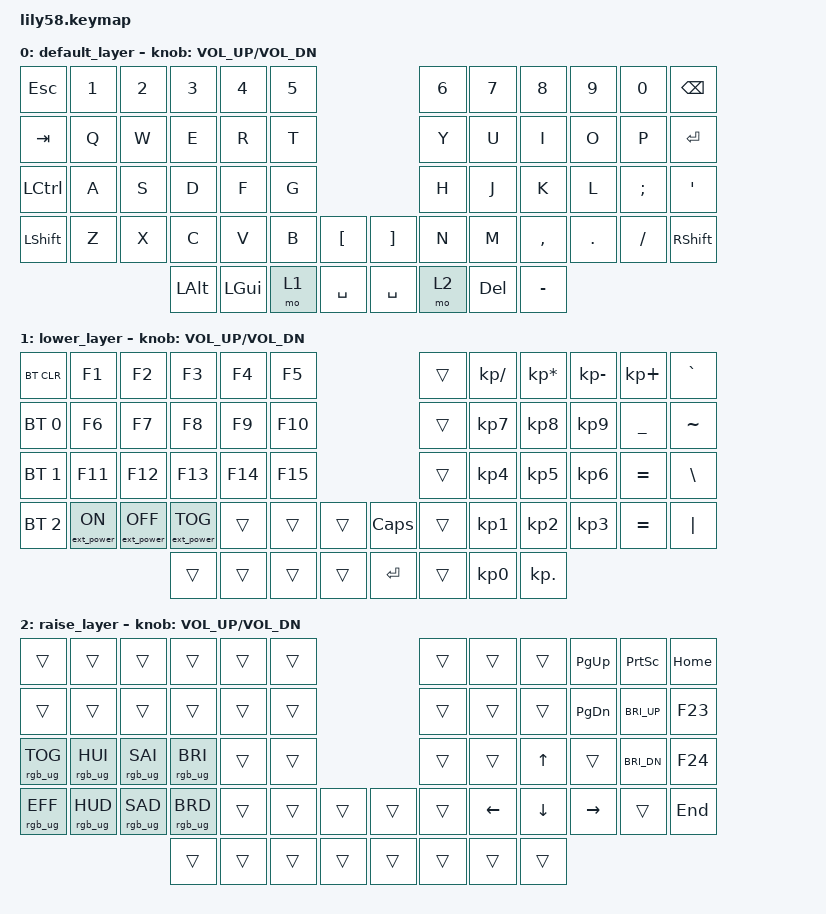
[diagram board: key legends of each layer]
/*
 * Copyright (c) 2020 The ZMK Contributors
 *
 * SPDX-License-Identifier: MIT
 */

#include <behaviors.dtsi>
#include <dt-bindings/zmk/keys.h>
#include <dt-bindings/zmk/bt.h>
#include <dt-bindings/zmk/ext_power.h>
#include <dt-bindings/zmk/rgb.h>

/ {
	keymap {
		compatible = "zmk,keymap";

		default_layer {
// ------------------------------------------------------------------------------------------------------------
// |  ESC  |  1  |  2  |  3   |  4   |  5   |                   |  6   |  7    |  8    |  9   |   0   |   `   |
// |  TAB  |  Q  |  W  |  E   |  R   |  T   |                   |  Y   |  U    |  I    |  O   |   P   |   -   |
// |  CTRL |  A  |  S  |  D   |  F   |  G   |                   |  H   |  J    |  K    |  L   |   ;   |   '   |
// | SHIFT |  Z  |  X  |  C   |  V   |  B   |   "["  |  |  "]"  |  N   |  M    |  ,    |  .   |   /   | SHIFT |
//                     | ALT  | GUI  | LOWER|  SPACE |  | ENTER | RAISE| BSPC  | GUI   |
			bindings = <
&kp ESC   &kp N1 &kp N2 &kp N3   &kp N4   &kp N5                     &kp N6 &kp N7   &kp N8    &kp N9  &kp N0   &kp BACKSPACE
&kp TAB   &kp Q  &kp W  &kp E    &kp R    &kp T                      &kp Y  &kp U    &kp I     &kp O   &kp P    &kp RETURN
&kp LCTRL &kp A  &kp S  &kp D    &kp F    &kp G                      &kp H  &kp J    &kp K     &kp L   &kp SEMI &kp SQT
&kp LSHFT &kp Z  &kp X  &kp C    &kp V    &kp B  &kp LBKT   &kp RBKT &kp N  &kp M    &kp COMMA &kp DOT &kp FSLH &kp RSHFT
                        &kp LALT &kp LGUI &mo 1  &kp SPACE  &kp SPACE  &mo 2  &kp DEL &kp MINUS
			>;

			sensor-bindings = <&inc_dec_kp C_VOL_UP C_VOL_DN>;
		};

		lower_layer {
// ------------------------------------------------------------------------------------------------------------
// | BTCLR | BT1 | BT2 |  BT3 |  BT4 |  BT5 |                   |      |       |       |      |       |       |
// |  F1   |  F2 |  F3 |  F4  |  F5  |  F6  |                   |  F7  |  F8   |  F9   |  F10 |  F11  |  F12  |
// |   `   |  !  |  @  |  #   |  $   |  %   |                   |  ^   |  &    |  *    |  (   |   )   |   ~   |
// |       |     |     |      |      |      |        |  |       |      |  _    |  +    |  {   |   }   |  "|"  |
//                     |      |      |      |        |  |       |      |       |       |
			bindings = <
&bt BT_CLR     &kp F1     &kp F2    &kp F3      &kp F4       &kp F5                                        &trans    &kp KP_DIVIDE    &kp KP_MULTIPLY          &kp KP_MINUS    &kp KP_PLUS    &kp GRAVE
&bt BT_SEL 0   &kp F6     &kp F7    &kp F8      &kp F9       &kp F10                                       &trans    &kp KP_N7    &kp KP_N8     &kp KP_N9   &kp UNDER   &kp TILDE
&bt BT_SEL 1   &kp F11    &kp F12   &kp F13     &kp F14      &kp F15                                       &trans    &kp KP_N4    &kp KP_N5     &kp KP_N6  &kp EQUAL  &kp BSLH
&bt BT_SEL 2   &ext_power EP_ON &ext_power EP_OFF &ext_power EP_TOG &trans    &trans    &trans   &kp CAPS    &trans    &kp KP_N1    &kp KP_N2     &kp KP_N3  &kp EQUAL  &kp PIPE
                                              &trans            &trans       &trans    &trans   &kp RET     &trans    &kp KP_N0    &kp KP_DOT
			>;

			sensor-bindings = <&inc_dec_kp C_VOL_UP C_VOL_DN>;
		};

		raise_layer {
// ------------------------------------------------------------------------------------------------------------
// |       |     |     |      |      |      |                   |      |       |       |      |       |       |
// |   `   |  1  |  2  |  3   |  4   |  5   |                   |  6   |   7   |   8   |  9   |   0   |       |
// |   F1  |  F2 |  F3 |  F4  |  F5  |  F6  |                   |      |   <-  |   ^   |  v   |  ->   |       |
// |   F7  |  F8 |  F9 |  F10 |  F11 |  F12 |        |  |       |  +   |   -   |   =   |  [   |   ]   |   \   |
//                     |      |      |      |        |  |       |      |       |       |
			bindings = <
&trans    &trans &trans &trans  &trans  &trans                       &trans      &trans    &trans    &kp PG_UP   &kp PSCRN      &kp HOME
&trans    &trans &trans &trans  &trans  &trans                       &trans      &trans    &trans    &kp PG_DN   &kp C_BRI_UP   &kp F23
&rgb_ug RGB_TOG &rgb_ug RGB_HUI &rgb_ug RGB_SAI &rgb_ug RGB_BRI  &trans  &trans                       &trans      &trans    &kp UP    &trans      &kp C_BRI_DN   &kp F24
&rgb_ug RGB_EFF &rgb_ug RGB_HUD &rgb_ug RGB_SAD &rgb_ug RGB_BRD &trans  &trans    &trans   &trans    &trans      &kp LEFT  &kp DOWN  &kp RIGHT   &trans         &kp END
                        &trans  &trans  &trans    &trans   &trans    &trans      &trans    &trans
			>;

			sensor-bindings = <&inc_dec_kp C_VOL_UP C_VOL_DN>;
		};
	};
};
